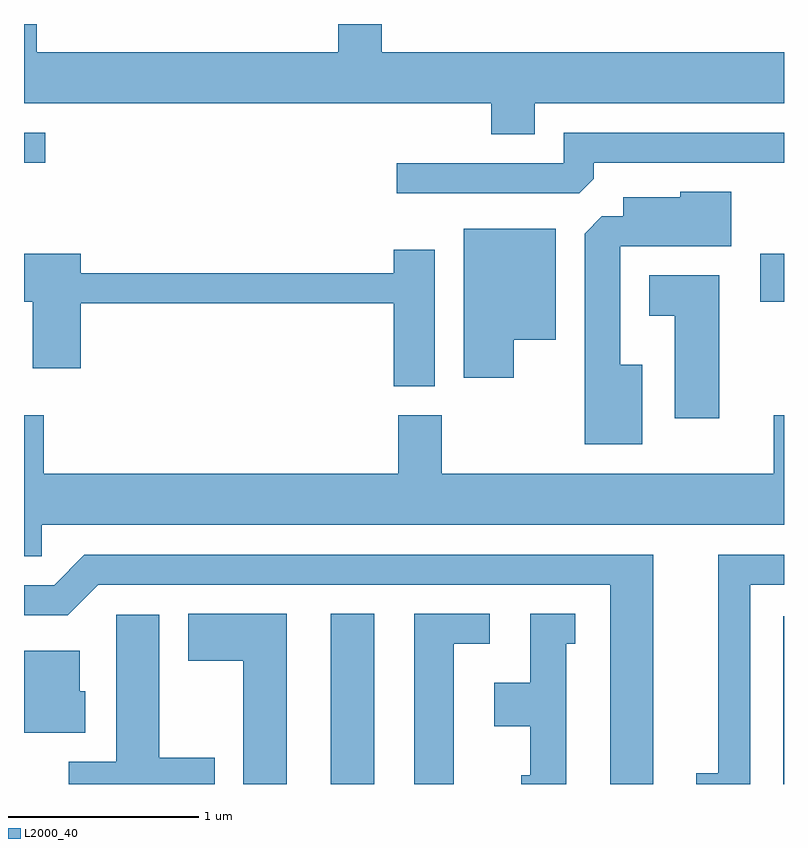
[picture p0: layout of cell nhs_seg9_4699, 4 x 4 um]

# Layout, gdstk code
import gdstk
lib = gdstk.Library(unit=1e-6, precision=1e-09)
def R(c, l, rs):  # rectangles x0, y0, x1, y1
    for r in rs: c.add(gdstk.rectangle(r[:2], r[2:], *l))
def P(c, l, *ps):  # polygons
    for p in ps: c.add(gdstk.Polygon(p, *l))
L2000_40 = (2000, 40)

nhs_seg9_4699 = lib.new_cell('nhs_seg9_4699')
R(nhs_seg9_4699, L2000_40, [(325.226,2010.432,325.454,2011.329), (327.606,2010.432,327.611,2011.314), (327.486,2012.971,327.611,2013.224), (323.611,2013.701,323.723,2013.859)])
P(nhs_seg9_4699, L2000_40, [(326.299,2014.016),(327.611,2014.016),(327.611,2014.284),(325.494,2014.284),(325.494,2014.432),(325.266,2014.432),(325.266,2014.284),(323.679,2014.284),(323.679,2014.432),(323.611,2014.432),(323.611,2014.016),(326.071,2014.016),(326.071,2013.851),(326.299,2013.851)],
  [(326.609,2013.617),(326.609,2013.701),(327.611,2013.701),(327.611,2013.859),(326.451,2013.859),(326.451,2013.699),(325.573,2013.699),(325.573,2013.541),(326.534,2013.541)],
  [(326.864,2012.639),(326.749,2012.639),(326.749,2013.261),(327.334,2013.261),(327.334,2013.549),(327.066,2013.549),(327.066,2013.519),(326.766,2013.519),(326.766,2013.419),(326.652,2013.419),(326.561,2013.329),(326.561,2012.221),(326.864,2012.221)],
  [(326.189,2012.771),(326.409,2012.771),(326.409,2013.354),(325.926,2013.354),(325.926,2012.571),(326.189,2012.571)],
  [(325.774,2013.244),(325.556,2013.244),(325.556,2013.119),(323.909,2013.119),(323.909,2013.224),(323.611,2013.224),(323.611,2012.971),(323.656,2012.971),(323.656,2012.621),(323.909,2012.621),(323.909,2012.961),(325.556,2012.961),(325.556,2012.526),(325.774,2012.526)],
  [(327.269,2013.109),(326.901,2013.109),(326.901,2012.896),(327.036,2012.896),(327.036,2012.356),(327.269,2012.356)],
  [(323.704,2011.796),(327.611,2011.796),(327.611,2012.374),(327.556,2012.374),(327.556,2012.064),(325.809,2012.064),(325.809,2012.374),(325.581,2012.374),(325.581,2012.064),(323.714,2012.064),(323.714,2012.374),(323.611,2012.374),(323.611,2011.631),(323.704,2011.631)],
  [(326.924,2011.639),(323.929,2011.639),(323.769,2011.479),(323.611,2011.479),(323.611,2011.321),(323.842,2011.321),(324.002,2011.481),(326.696,2011.481),(326.696,2010.432),(326.924,2010.432)],
  [(327.434,2011.481),(327.611,2011.481),(327.611,2011.639),(327.266,2011.639),(327.266,2010.489),(327.148,2010.489),(327.148,2010.432),(327.434,2010.432)],
  [(325.874,2011.171),(326.063,2011.171),(326.063,2011.329),(325.666,2011.329),(325.666,2010.432),(325.874,2010.432)],
  [(324.994,2011.329),(324.476,2011.329),(324.476,2011.081),(324.766,2011.081),(324.766,2010.432),(324.994,2010.432)],
  [(326.464,2011.171),(326.513,2011.171),(326.513,2011.329),(326.276,2011.329),(326.276,2010.964),(326.086,2010.964),(326.086,2010.736),(326.276,2010.736),(326.276,2010.479),(326.228,2010.479),(326.228,2010.432),(326.464,2010.432)],
  [(324.614,2010.569),(324.324,2010.569),(324.324,2011.324),(324.096,2011.324),(324.096,2010.549),(323.846,2010.549),(323.846,2010.432),(324.614,2010.432)],
  [(323.934,2010.919),(323.904,2010.919),(323.904,2011.134),(323.611,2011.134),(323.611,2010.701),(323.934,2010.701)])

lib.write_gds('nhs_seg9_4699.gds')
